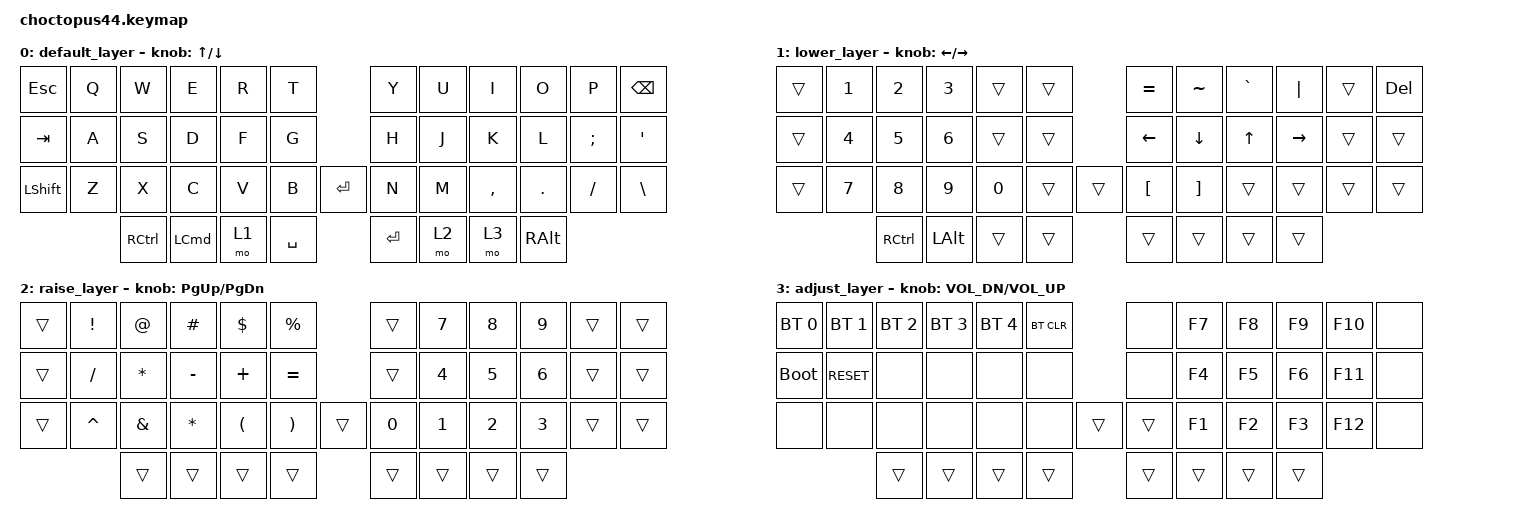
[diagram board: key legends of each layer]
/*
 * Copyright (c) 2021 The ZMK Contributors
 *
 * SPDX-License-Identifier: MIT
 */

#include <behaviors.dtsi>
#include <dt-bindings/zmk/bt.h>
#include <dt-bindings/zmk/keys.h>

&mt { tapping-term-ms = <400>; };

/ {
    keymap {
        compatible = "zmk,keymap";

        default_layer {
            bindings = <
&kp ESC    &kp Q  &kp W      &kp E             &kp R  &kp T               &kp Y    &kp U  &kp I      &kp O     &kp P     &kp BACKSPACE
&kp TAB    &kp A  &kp S      &kp D             &kp F  &kp G               &kp H    &kp J  &kp K      &kp L     &kp SEMI  &kp SQT
&kp LSHFT  &kp Z  &kp X      &kp C             &kp V  &kp B      &kp RET  &kp N    &kp M  &kp COMMA  &kp DOT   &kp FSLH  &kp BACKSLASH
                  &kp RCTRL  &kp LEFT_COMMAND  &mo 1  &kp SPACE           &kp RET  &mo 2  &mo 3      &kp RALT
            >;

            sensor-bindings = <&inc_dec_kp UP_ARROW DOWN>;
        };

        lower_layer {
            bindings = <
&trans  &kp N1  &kp N2     &kp N3    &trans  &trans          &kp EQUAL         &kp TILDE  &kp GRAVE     &kp PIPE   &trans  &kp DEL
&trans  &kp N4  &kp N5     &kp N6    &trans  &trans          &kp LEFT          &kp DOWN   &kp UP_ARROW  &kp RIGHT  &trans  &trans
&trans  &kp N7  &kp N8     &kp N9    &kp N0  &trans  &trans  &kp LEFT_BRACKET  &kp RBKT   &trans        &trans     &trans  &trans
                &kp RCTRL  &kp LALT  &trans  &trans          &trans            &trans     &trans        &trans
            >;

            sensor-bindings = <&inc_dec_kp LEFT RIGHT>;
        };

        raise_layer {
            bindings = <
&trans  &kp EXCLAMATION  &kp AT_SIGN    &kp POUND  &kp DOLLAR            &kp PERCENT                    &trans  &kp N7  &kp N8  &kp N9  &trans  &trans
&trans  &kp SLASH        &kp ASTERISK   &kp MINUS  &kp PLUS              &kp EQUAL                      &trans  &kp N4  &kp N5  &kp N6  &trans  &trans
&trans  &kp CARET        &kp AMPERSAND  &kp STAR   &kp LEFT_PARENTHESIS  &kp RIGHT_PARENTHESIS  &trans  &kp N0  &kp N1  &kp N2  &kp N3  &trans  &trans
                         &trans         &trans     &trans                &trans                         &trans  &trans  &trans  &trans
            >;

            sensor-bindings = <&inc_dec_kp PG_UP PG_DN>;
        };

        adjust_layer {
            bindings = <
&bt BT_SEL 0  &bt BT_SEL 1  &bt BT_SEL 2  &bt BT_SEL 3  &bt BT_SEL 4  &bt BT_CLR          &none   &kp F7  &kp F8  &kp F9  &kp F10  &none
&bootloader   &kp C_RESET   &none         &none         &none         &none               &none   &kp F4  &kp F5  &kp F6  &kp F11  &none
&none         &none         &none         &none         &none         &none       &trans  &trans  &kp F1  &kp F2  &kp F3  &kp F12  &none
                            &trans        &trans        &trans        &trans              &trans  &trans  &trans  &trans
            >;

            sensor-bindings = <&inc_dec_kp C_VOL_DN C_VOL_UP>;
        };
    };
};
